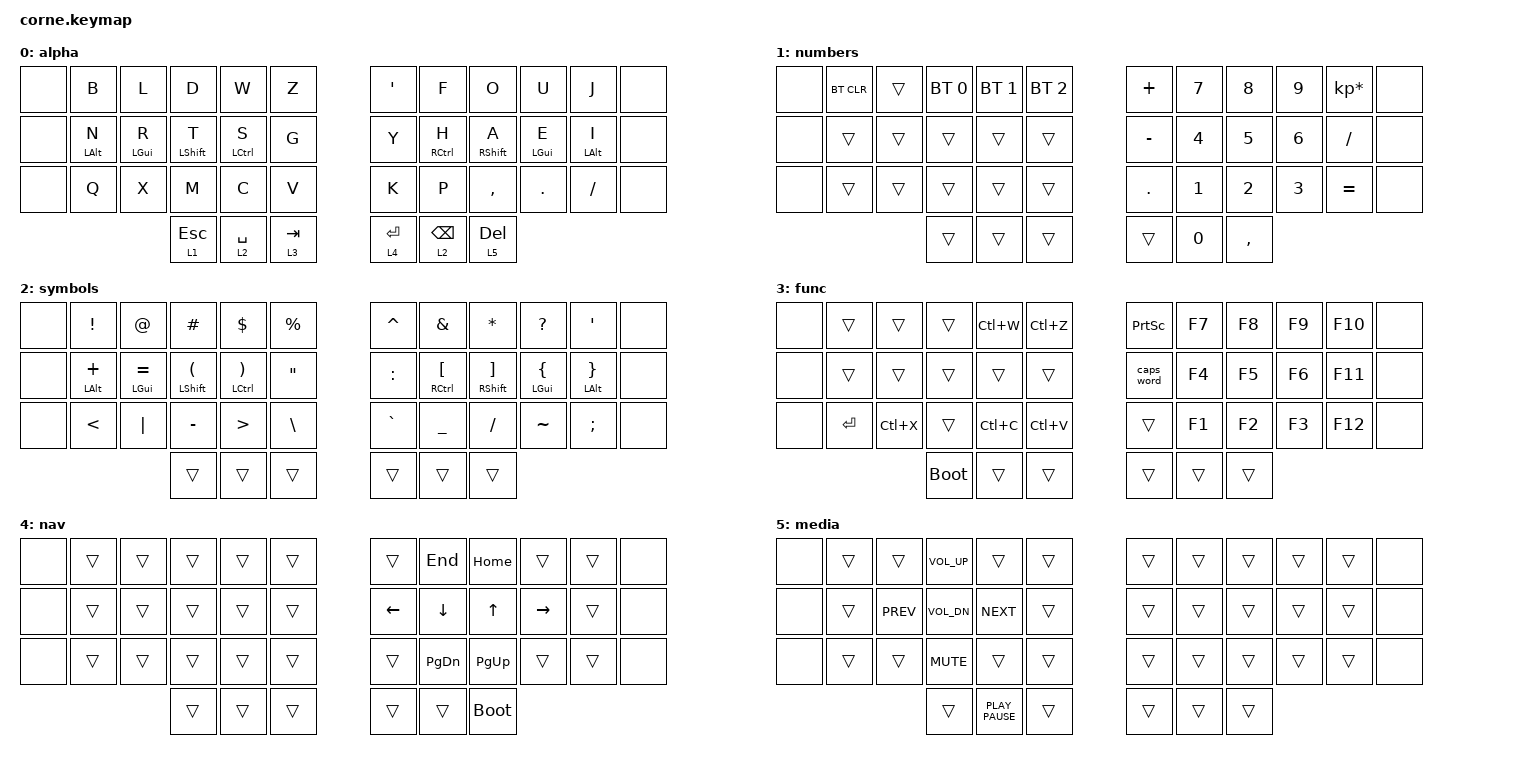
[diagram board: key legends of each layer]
/*
 * Copyright (c) 2020 The ZMK Contributors
 *
 * SPDX-License-Identifier: MIT
 */

#include <behaviors.dtsi>
#include <dt-bindings/zmk/bt.h>
#include <dt-bindings/zmk/keys.h>

/ {
    behaviors {
        hrm: hrm {
            compatible = "zmk,behavior-hold-tap";
            label = "HRM";
            bindings = <&kp>, <&kp>;

            #binding-cells = <2>;
            tapping-term-ms = <170>;
            flavor = "balanced";
            quick-tap-ms = <230>;
            hold-trigger-on-release;
            require-prior-idle-ms = <80>;
        };

        hold_tap: hold_tap {
            compatible = "zmk,behavior-hold-tap";
            label = "HOLD_TAP";
            bindings = <&mo>, <&kp>;

            #binding-cells = <2>;
            tapping-term-ms = <170>;
            flavor = "balanced";
            quick-tap-ms = <230>;
            hold-trigger-on-release;
            require-prior-idle-ms = <80>;
        };

        cw: cw {
            compatible = "zmk,behavior-caps-word";
            label = "CW";
            #binding-cells = <0>;
            continue-list = <Q W F P B A R S T G Z X C D V J L U Y SEMICOLON M N E I O K H COMMA DOT BACKSLASH SLASH RIGHT_BRACKET LEFT_BRACKET SINGLE_QUOTE APOSTROPHE BACKSPACE>;
        };

        hrmp: hrmp {
            compatible = "zmk,behavior-hold-tap";
            label = "HRMP";
            bindings = <&kp>, <&kp>;

            #binding-cells = <2>;
            tapping-term-ms = <200>;
            quick-tap-ms = <230>;
            require-prior-idle-ms = <80>;
            flavor = "balanced";
            hold-trigger-on-release;
        };
    };

    combos {
        compatible = "zmk,combos";

        ua_yi {
            bindings = <&kp RIGHT_BRACKET>;
            key-positions = <2 3>;
        };

        ua_ap {
            bindings = <&kp GRAVE>;
            key-positions = <26 27>;
        };

        ua_kh {
            bindings = <&kp LEFT_BRACKET>;
            key-positions = <8 9>;
        };

        ua_ye {
            bindings = <&kp SEMICOLON>;
            key-positions = <32 33>;
        };

        ua_g {
            bindings = <&kp BACKSLASH>;
            key-positions = <7 8>;
        };

        rgui {
            bindings = <&kp CAPS>;
            key-positions = <14 15 16>;
        };

        rgui2 {
            bindings = <&kp CAPS>;
            key-positions = <19 20 21>;
        };
    };

    keymap {
        compatible = "zmk,keymap";

        default_layer {
            display-name = "alpha";

            // ------------------------------------------------------------------
            // |  B  |  L  |  D  |  W  |  Z  |   |  '  |  F   |  O  |  U  |  J  |
            // |  N  |  R  |  T  |  S  |  G  |   |  Y  |  H   |  A  |  E  |  I  |
            // |  Q  |  X  |  M  |  C  |  V  |   |  K  |  P   |  ,  |  .  |  /  |
            //             | ESC | SPC | TAB |   | ENT | BSP  | DEL |
            bindings = <
&none   &kp B             &kp L        &kp D               &kp W              &kp Z            &kp SQT            &kp F                  &kp O               &kp U            &kp J             &none
&none   &hrmp LEFT_ALT N  &hrm LGUI R  &hrm LEFT_SHIFT T   &hrm LCTRL S       &kp G            &kp Y              &hrm RCTRL H           &hrm RIGHT_SHIFT A  &hrm LEFT_GUI E  &hrmp LEFT_ALT I  &none
&none   &kp Q             &kp X        &kp M               &kp C              &kp V            &kp K              &kp P                  &kp COMMA           &kp DOT          &kp FSLH          &none
                                       &hold_tap 1 ESCAPE  &hold_tap 2 SPACE  &hold_tap 3 TAB  &hold_tap 4 ENTER  &hold_tap 2 BACKSPACE  &hold_tap 5 DELETE
            >;
        };

        num_bt {
            display-name = "numbers";

            // -----------------------------------------------------------------
            // | BTC |     | BT0 | BT1 | BT2 |   |  +  |  7  |  8  |  9  |  *  |
            // |     |     |     |     |     |   |  -  |  4  |  5  |  6  |  /  |
            // |     |     |     |     |     |   |  .  |  1  |  2  |  3  |  =  |
            //             |     |     |     |   |     |  0  |  ,  |
            bindings = <
&none   &bt BT_CLR  &trans  &bt BT_SEL 0  &bt BT_SEL 1  &bt BT_SEL 2  &kp PLUS   &kp N7        &kp N8        &kp N9  &kp KP_MULTIPLY    &none
&none   &trans      &trans  &trans        &trans        &trans        &kp MINUS  &kp N4        &kp N5        &kp N6  &kp FSLH           &none
&none   &trans      &trans  &trans        &trans        &trans        &kp DOT    &kp NUMBER_1  &kp NUMBER_2  &kp N3  &kp EQUAL          &none
                            &trans        &trans        &trans        &trans     &kp N0        &kp COMMA
            >;
        };

        symb {
            display-name = "symbols";

            // -----------------------------------------------------------------
            // |  !  |  @  |  #  |  $  |  %  |   |  ^  |  &  |  *  |  ?  |  '  |
            // |  +  |  =  |  (  |  )  |  "  |   |  :  |  [  |  ]  |  {  |  }  |
            // |  <  |  |  |  -  |  >  |  \  |   |  `  |  _  |  /  |  ~  |  ;  |
            //             |     |     |     |   |     |     |     |
            bindings = <
&none   &kp EXCL             &kp AT               &kp HASH                          &kp DLLR                      &kp PRCNT          &kp CARET  &kp AMPERSAND            &kp ASTERISK                    &kp QUESTION              &kp SQT                      &none
&none   &hrmp LEFT_ALT PLUS  &hrm LEFT_GUI EQUAL  &hrm LEFT_SHIFT LEFT_PARENTHESIS  &hrm LCTRL RIGHT_PARENTHESIS  &kp DOUBLE_QUOTES  &kp COLON  &hrm RCTRL LEFT_BRACKET  &hrm RIGHT_SHIFT RIGHT_BRACKET  &hrm LEFT_GUI LEFT_BRACE  &hrmp LEFT_ALT RIGHT_BRACE   &none
&none   &kp LESS_THAN        &kp PIPE             &kp MINUS                         &kp GREATER_THAN              &kp BSLH           &kp GRAVE  &kp UNDERSCORE           &kp FSLH                        &kp TILDE                 &kp SEMI                     &none
                                                  &trans                            &trans                        &trans             &trans     &trans                   &trans
            >;
        };

        func {
            display-name = "func";

            // -----------------------------------------------------------------
            // |     |     |     |  ^W |  ^Z |   | PSCR|  F7 |  F8 |  F9 |  F10|
            // |     |     |     |     |     |   |  CW |  F4 |  F5 |  F6 |  F11|
            // | ENT |  ^X |     |  ^C |  ^V |   |     |  F1 |  F2 |  F3 |  F12|
            //             |BOOTL|     |     |   |     |     |     |
            bindings = <
&none   &trans      &trans      &trans       &kp LC(W)  &kp LC(Z)  &kp PRINTSCREEN  &kp F7  &kp F8  &kp F9  &kp F10     &none
&none   &trans      &trans      &trans       &trans     &trans     &caps_word       &kp F4  &kp F5  &kp F6  &kp F11     &none
&none   &kp ENTER   &kp LC(X)   &trans       &kp LC(C)  &kp LC(V)  &trans           &kp F1  &kp F2  &kp F3  &kp F12     &none
                                &bootloader  &trans     &trans     &trans           &trans  &trans
            >;
        };

        nav {
            display-name = "nav";

            // -----------------------------------------------------------------
            // |     |     |     |     |     |   |     | END | HOME|     |     |
            // |     |     |     |     |     |   | LEFT| DOWN|  UP |RIGHT|     |
            // |     |     |     |     |     |   |     | PGDN| PGUP|     |     |
            //             |     |     |     |   |     |     |BOOTL|
            bindings = <
&none   &trans  &trans  &trans  &trans  &trans  &trans    &kp END    &kp HOME     &trans     &trans     &none
&none   &trans  &trans  &trans  &trans  &trans  &kp LEFT  &kp DOWN   &kp UP       &kp RIGHT  &trans     &none
&none   &trans  &trans  &trans  &trans  &trans  &trans    &kp PG_DN  &kp PG_UP    &trans     &trans     &none
                        &trans  &trans  &trans  &trans    &trans     &bootloader
            >;
        };

        media {
            display-name = "media";

            // -----------------------------------------------------------------
            // |     |     |VOLUP|     |     |   |     |     |     |     |     |
            // |     | PREV|VOLDN| NEXT|     |   |     |     |     |     |     |
            // |     |     | MUTE|     |     |   |     |     |     |     |     |
            //             |     |PL/PS|     |   |     |     |     |
            bindings = <
&none   &trans  &trans      &kp C_VOLUME_UP  &trans            &trans  &trans  &trans  &trans  &trans  &trans       &none
&none   &trans  &kp K_PREV  &kp C_VOL_DN     &kp K_NEXT        &trans  &trans  &trans  &trans  &trans  &trans       &none
&none   &trans  &trans      &kp K_MUTE       &trans            &trans  &trans  &trans  &trans  &trans  &trans       &none
                            &trans           &kp K_PLAY_PAUSE  &trans  &trans  &trans  &trans
            >;
        };
    };
};
